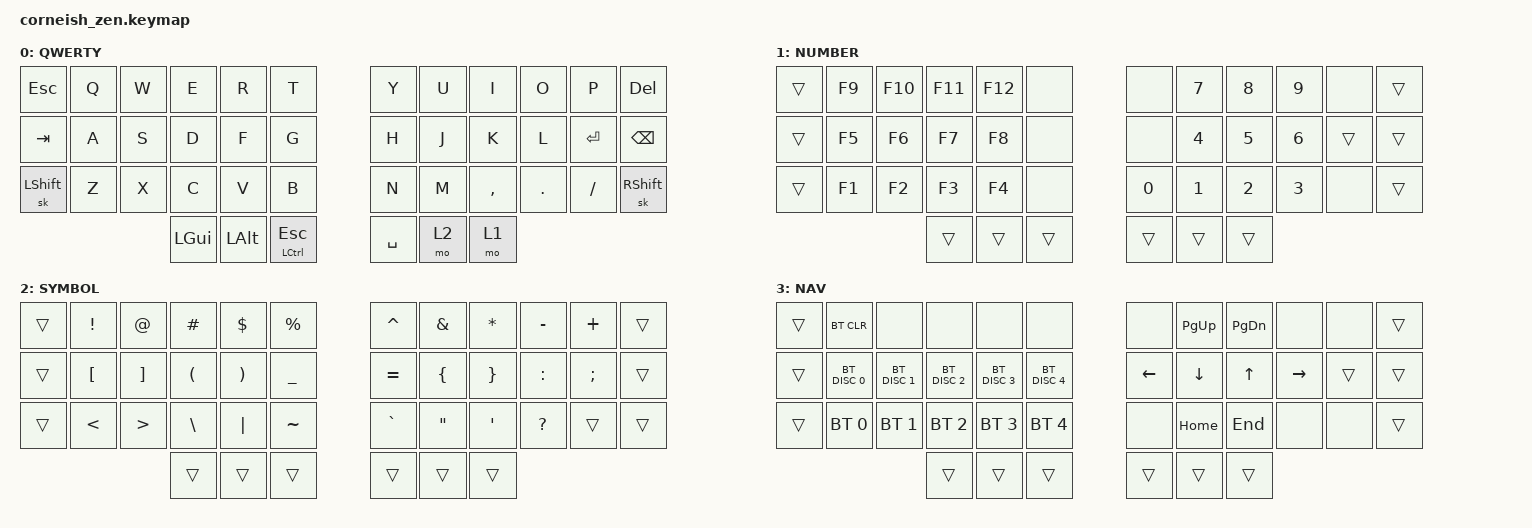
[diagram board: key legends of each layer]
/*
*
* Copyright (c) 2021 Darryl deHaan
* SPDX-License-Identifier: MIT
*
*/

#include <behaviors.dtsi>
#include <dt-bindings/zmk/keys.h>
#include <dt-bindings/zmk/bt.h>

/ {
    chosen {
        zmk,matrix-transform = &default_transform;
    };
};

/ {
    conditional_layers {
        compatible = "zmk,conditional-layers";
        tri_layer {
            if-layers = <1 2>;
            then-layer = <3>;
        };
    };
};

/ {
    keymap {
        compatible = "zmk,keymap";

        default_layer {
            display-name = "QWERTY";
// -----------------------------------------------------------------------------------------
// | ESC  |  Q  |  W  |  E  |  R  |  T   |   |  Y  |  U  |  I  |  O  |  P  | DEL  |
// | TAB  |  A  |  S  |  D  |  F  |  G   |   |  H  |  J  |  K  |  L  | ENT | BKSP |
// | SHFT |  Z  |  X  |  C  |  V  |  B   |   |  N  |  M  |  ,  |  .  |  /  | SHFT |
//                    | GUI | ALT | CTRL |   | SPC | RSE | LWR |
            bindings = <
   &kp ESC   &kp Q &kp W &kp E &kp R &kp T   &kp Y &kp U &kp I     &kp O   &kp P    &kp DEL
   &kp TAB   &kp A &kp S &kp D &kp F &kp G   &kp H &kp J &kp K     &kp L   &kp RET  &kp BSPC
   &sk LSHFT &kp Z &kp X &kp C &kp V &kp B   &kp N &kp M &kp COMMA &kp DOT &kp FSLH &sk RSHFT
           &kp LGUI &kp LALT &mt LCTRL ESC   &kp SPACE &mo 2 &mo 1
            >;
        };

        lower_layer {
            display-name = "NUMBER";
// -----------------------------------------------------------------------------------------
// |    | F9  | F10 | F11 | F12 |     |   |     |  7  |  8  |  9  |    |    |
// |    | F5  | F6  | F7  | F8  |     |   |     |  4  |  5  |  6  |    |    |
// |    | F1  | F2  | F3  | F4  |     |   |  0  |  1  |  2  |  3  |    |    |
//                  |     |     |     |   |     |     |     |
            bindings = <
   &trans  &kp F9  &kp F10 &kp F11 &kp F12 &none    &none     &kp N7  &kp N8  &kp N9  &none  &trans
   &trans  &kp F5  &kp F6  &kp F7  &kp F8  &none    &none     &kp N4  &kp N5  &kp N6  &trans &trans
   &trans  &kp F1  &kp F2  &kp F3  &kp F4  &none    &kp N0    &kp N1  &kp N2  &kp N3  &none  &trans
                           &trans  &trans  &trans   &trans    &trans  &trans
            >;
        };

        raise_layer {
            display-name = "SYMBOL";
// -----------------------------------------------------------------------------------------
// |    |  !  |  @  |  #  |  $  |  %  |   |  ^  |  &  |  *  |  -  |  +  |     |
// |    |  [  |  ]  |  (  |  )  |  _  |   |  =  |  {  |  }  |  :  |  ;  |     |
// |    |  <  |  >  |  \  |  |  |  ~  |   |  `  |  "  |  '  |  ?  |     |     |
//                  |     |     |     |   |     |     |     |
            bindings = <
   &trans  &kp EXCL  &kp AT    &kp HASH  &kp DLLR  &kp PRCNT   &kp CARET  &kp AMPS  &kp STAR  &kp MINUS &kp PLUS  &trans  
   &trans  &kp LBKT  &kp RBKT  &kp LPAR  &kp RPAR  &kp UNDER   &kp EQUAL  &kp LBRC  &kp RBRC  &kp COLON &kp SEMI  &trans
   &trans  &kp LT    &kp GT    &kp BSLH  &kp PIPE  &kp TILDE   &kp GRAVE  &kp DQT   &kp SQT   &kp QMARK &trans    &trans
                               &trans    &trans    &trans      &trans     &trans    &trans
            >;
        };

        adjust_default {
            display-name = "NAV";
// -----------------------------------------------------------------------------------------
// |       | BTCLR |      |      |      |      |   |     | PG_UP | PG_DN |     |     |     |
// |       | BTC1  | BTC2 | BTC3 | BTC4 | BTC5 |   | LFT | DWN   | UP    | RGT |     |     |
// |       | BT1   | BT2  | BT3  | BT4  | BT5  |   |     | HOME  | END   |     |     |     |
//                        |      |      |      |   |     |       |       |
            bindings = <
   &trans  &bt BT_CLR     &none          &none          &none          &none            &none     &kp PG_UP  &kp PG_DN  &none      &none   &trans
   &trans  &bt BT_DISC 0  &bt BT_DISC 1  &bt BT_DISC 2  &bt BT_DISC 3  &bt BT_DISC 4    &kp LEFT  &kp DOWN   &kp UP     &kp RIGHT  &trans  &trans
   &trans  &bt BT_SEL 0   &bt BT_SEL 1   &bt BT_SEL 2   &bt BT_SEL 3   &bt BT_SEL 4     &none     &kp HOME   &kp END    &none      &none   &trans
                                         &trans         &trans         &trans           &trans    &trans     &trans
            >;
        };
    };
};
